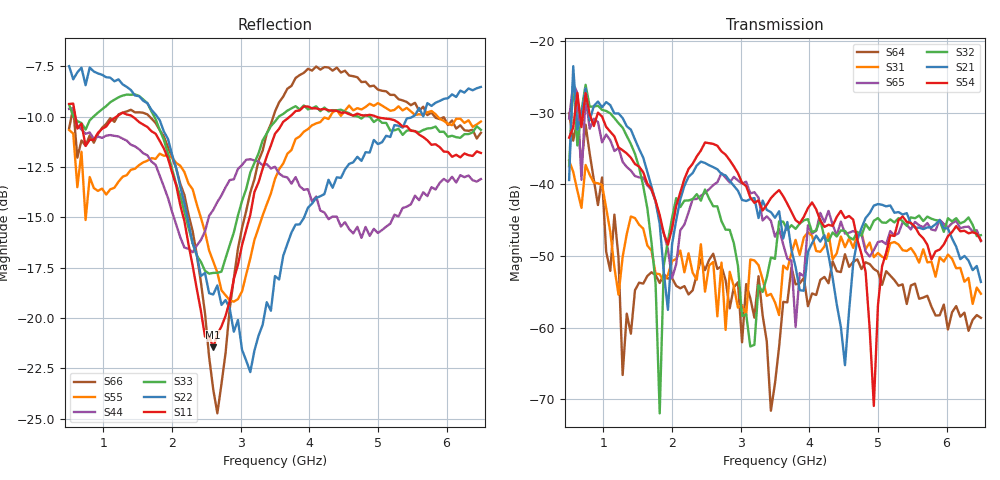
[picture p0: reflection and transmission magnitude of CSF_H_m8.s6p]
!Keysight Technologies,M9804A,MY58100912,A.14.10.03
!Date: Thursday, April 27, 2023 10:28:33
!Correction: S11(C  6-Port  )
!S12(C  6-Port  )
!S13(C  6-Port  )
!S14(C  6-Port  )
!S15(C  6-Port  )
!S16(C  6-Port  )
!S21(C  6-Port  )
!S22(C  6-Port  )
!S23(C  6-Port  )
!S24(C  6-Port  )
!S25(C  6-Port  )
!S26(C  6-Port  )
!S31(C  6-Port  )
!S32(C  6-Port  )
!S33(C  6-Port  )
!S34(C  6-Port  )
!S35(C  6-Port  )
!S36(C  6-Port  )
!S41(C  6-Port  )
!S42(C  6-Port  )
!S43(C  6-Port  )
!S44(C  6-Port  )
!S45(C  6-Port  )
!S46(C  6-Port  )
!S51(C  6-Port  )
!S52(C  6-Port  )
!S53(C  6-Port  )
!S54(C  6-Port  )
!S55(C  6-Port  )
!S56(C  6-Port  )
!S61(C  6-Port  )
!S62(C  6-Port  )
!S63(C  6-Port  )
!S64(C  6-Port  )
!S65(C  6-Port  )
!S66(C  6-Port  )
!S6P File: Measurement: :
# Hz S  RI  R 50
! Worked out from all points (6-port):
!   101 points, 500 MHz to 6.5 GHz, reference 50 ohm
!   strongest paths, dB at 500 MHz, 2 GHz, 3.5 GHz, 5 GHz, 6.5 GHz:
!     S54: -33.5, -46.1, -41.3, -56.8, -47.8
!     S21: -39.4, -48.4, -44.7, -42.7, -53.6
!     S32: -37.5, -44.7, -50.4, -44.7, -47.1
!     S65: -30.8, -53.1, -47.3, -48.0, -47.9
!     S31: -36.7, -50.7, -56.5, -49.6, -55.3
!     S64: -30.1, -53.1, -67.7, -52.2, -58.6
!   lowest |S11| = -21.4 dB at 2.6 GHz (marker M1), VSWR 1.18, Z = 42.5 + j2.21 ohm
!   |S11| at or under -10 dB: 591.7 MHz to 1.187 GHz (595.2 MHz wide, 66.9 % of centre); 1.428 GHz to 3.713 GHz (2.285 GHz wide, 88.9 % of centre); 4.98 GHz to end of sweep
